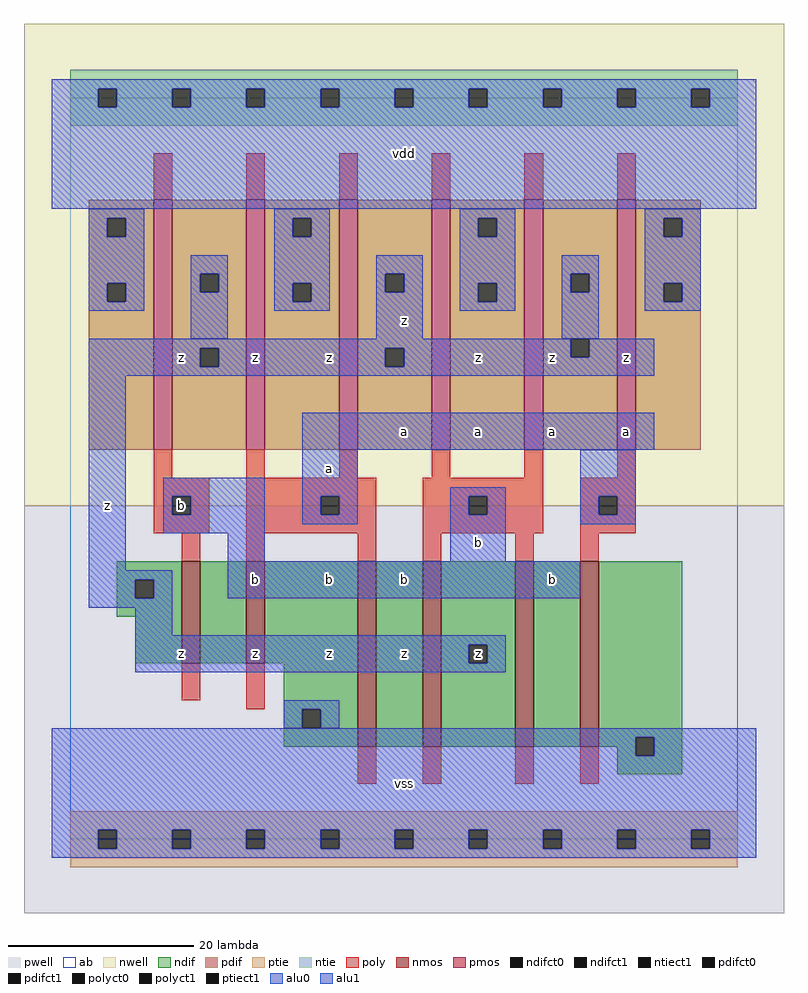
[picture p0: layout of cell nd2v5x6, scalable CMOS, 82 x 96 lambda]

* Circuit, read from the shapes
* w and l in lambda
.subckt nd2v5x6 a b vdd vss z
M1 n1 b z vss nfet w=11 l=2
M2 vss a n1 vss nfet w=11 l=2
M3 n2 a vss vss nfet w=20 l=2
M4 z b n2 vss nfet w=20 l=2
M5 n3 b z vss nfet w=20 l=2
M6 vss a n3 vss nfet w=20 l=2
M7 z b vdd vdd pfet w=27 l=2 m=3
M8 vdd a z vdd pfet w=27 l=2 m=3
.ends

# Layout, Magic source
magic
tech scmos
<< ab >>
rect 0 0 72 80
<< nwell >>
rect -5 36 77 88
<< pwell >>
rect -5 -8 77 36
<< poly >>
rect 9 69 11 74
rect 19 69 21 74
rect 29 69 31 74
rect 39 69 41 74
rect 49 69 51 74
rect 59 69 61 74
rect 9 39 11 42
rect 19 39 21 42
rect 29 39 31 42
rect 39 39 41 42
rect 49 39 51 42
rect 59 39 61 42
rect 9 37 15 39
rect 9 35 11 37
rect 13 35 15 37
rect 9 33 15 35
rect 19 37 33 39
rect 19 35 27 37
rect 29 35 33 37
rect 19 33 33 35
rect 12 30 14 33
rect 19 30 21 33
rect 31 30 33 33
rect 38 37 51 39
rect 38 35 43 37
rect 45 35 51 37
rect 38 33 51 35
rect 55 37 61 39
rect 55 35 57 37
rect 59 35 61 37
rect 55 33 61 35
rect 38 30 40 33
rect 48 30 50 33
rect 55 30 57 33
rect 12 15 14 19
rect 19 14 21 19
rect 31 6 33 10
rect 38 6 40 10
rect 48 6 50 10
rect 55 6 57 10
<< ndif >>
rect 5 28 12 30
rect 5 26 7 28
rect 9 26 12 28
rect 5 24 12 26
rect 7 19 12 24
rect 14 19 19 30
rect 21 19 31 30
rect 23 14 31 19
rect 23 12 25 14
rect 27 12 31 14
rect 23 10 31 12
rect 33 10 38 30
rect 40 21 48 30
rect 40 19 43 21
rect 45 19 48 21
rect 40 10 48 19
rect 50 10 55 30
rect 57 11 66 30
rect 57 10 61 11
rect 59 9 61 10
rect 63 9 66 11
rect 59 7 66 9
<< pdif >>
rect 2 67 9 69
rect 2 65 4 67
rect 6 65 9 67
rect 2 60 9 65
rect 2 58 4 60
rect 6 58 9 60
rect 2 42 9 58
rect 11 61 19 69
rect 11 59 14 61
rect 16 59 19 61
rect 11 53 19 59
rect 11 51 14 53
rect 16 51 19 53
rect 11 42 19 51
rect 21 67 29 69
rect 21 65 24 67
rect 26 65 29 67
rect 21 60 29 65
rect 21 58 24 60
rect 26 58 29 60
rect 21 42 29 58
rect 31 61 39 69
rect 31 59 34 61
rect 36 59 39 61
rect 31 53 39 59
rect 31 51 34 53
rect 36 51 39 53
rect 31 42 39 51
rect 41 67 49 69
rect 41 65 44 67
rect 46 65 49 67
rect 41 60 49 65
rect 41 58 44 60
rect 46 58 49 60
rect 41 42 49 58
rect 51 61 59 69
rect 51 59 54 61
rect 56 59 59 61
rect 51 54 59 59
rect 51 52 54 54
rect 56 52 59 54
rect 51 42 59 52
rect 61 67 68 69
rect 61 65 64 67
rect 66 65 68 67
rect 61 60 68 65
rect 61 58 64 60
rect 66 58 68 60
rect 61 42 68 58
<< alu1 >>
rect -2 81 74 82
rect -2 79 3 81
rect 5 79 11 81
rect 13 79 19 81
rect 21 79 27 81
rect 29 79 35 81
rect 37 79 43 81
rect 45 79 51 81
rect 53 79 59 81
rect 61 79 67 81
rect 69 79 74 81
rect -2 68 74 79
rect 33 61 38 63
rect 33 59 34 61
rect 36 59 38 61
rect 33 54 38 59
rect 2 53 54 54
rect 2 51 14 53
rect 16 51 34 53
rect 36 52 54 53
rect 56 52 63 54
rect 36 51 63 52
rect 2 50 63 51
rect 2 29 6 50
rect 25 42 63 46
rect 10 37 21 39
rect 10 35 11 37
rect 13 35 21 37
rect 10 33 21 35
rect 25 37 31 42
rect 25 35 27 37
rect 29 35 31 37
rect 25 34 31 35
rect 41 37 47 38
rect 41 35 43 37
rect 45 35 47 37
rect 17 30 21 33
rect 41 30 47 35
rect 2 28 11 29
rect 2 26 7 28
rect 9 26 11 28
rect 17 26 55 30
rect 2 25 11 26
rect 7 22 11 25
rect 7 21 47 22
rect 7 19 43 21
rect 45 19 47 21
rect 7 18 47 19
rect -2 11 74 12
rect -2 9 61 11
rect 63 9 74 11
rect -2 1 74 9
rect -2 -1 3 1
rect 5 -1 11 1
rect 13 -1 19 1
rect 21 -1 27 1
rect 29 -1 35 1
rect 37 -1 43 1
rect 45 -1 51 1
rect 53 -1 59 1
rect 61 -1 67 1
rect 69 -1 74 1
rect -2 -2 74 -1
<< ptie >>
rect 0 1 72 3
rect 0 -1 3 1
rect 5 -1 11 1
rect 13 -1 19 1
rect 21 -1 27 1
rect 29 -1 35 1
rect 37 -1 43 1
rect 45 -1 51 1
rect 53 -1 59 1
rect 61 -1 67 1
rect 69 -1 72 1
rect 0 -3 72 -1
<< ntie >>
rect 0 81 72 83
rect 0 79 3 81
rect 5 79 11 81
rect 13 79 19 81
rect 21 79 27 81
rect 29 79 35 81
rect 37 79 43 81
rect 45 79 51 81
rect 53 79 59 81
rect 61 79 67 81
rect 69 79 72 81
rect 0 77 72 79
<< nmos >>
rect 12 19 14 30
rect 19 19 21 30
rect 31 10 33 30
rect 38 10 40 30
rect 48 10 50 30
rect 55 10 57 30
<< pmos >>
rect 9 42 11 69
rect 19 42 21 69
rect 29 42 31 69
rect 39 42 41 69
rect 49 42 51 69
rect 59 42 61 69
<< polyct0 >>
rect 57 35 59 37
<< polyct1 >>
rect 11 35 13 37
rect 27 35 29 37
rect 43 35 45 37
<< ndifct0 >>
rect 25 12 27 14
<< ndifct1 >>
rect 7 26 9 28
rect 43 19 45 21
rect 61 9 63 11
<< ntiect1 >>
rect 3 79 5 81
rect 11 79 13 81
rect 19 79 21 81
rect 27 79 29 81
rect 35 79 37 81
rect 43 79 45 81
rect 51 79 53 81
rect 59 79 61 81
rect 67 79 69 81
<< ptiect1 >>
rect 3 -1 5 1
rect 11 -1 13 1
rect 19 -1 21 1
rect 27 -1 29 1
rect 35 -1 37 1
rect 43 -1 45 1
rect 51 -1 53 1
rect 59 -1 61 1
rect 67 -1 69 1
<< pdifct0 >>
rect 4 65 6 67
rect 4 58 6 60
rect 14 59 16 61
rect 24 65 26 67
rect 24 58 26 60
rect 44 65 46 67
rect 44 58 46 60
rect 54 59 56 61
rect 64 65 66 67
rect 64 58 66 60
<< pdifct1 >>
rect 14 51 16 53
rect 34 59 36 61
rect 34 51 36 53
rect 54 52 56 54
<< alu0 >>
rect 2 67 8 68
rect 2 65 4 67
rect 6 65 8 67
rect 2 60 8 65
rect 22 67 28 68
rect 22 65 24 67
rect 26 65 28 67
rect 2 58 4 60
rect 6 58 8 60
rect 2 57 8 58
rect 13 61 17 63
rect 13 59 14 61
rect 16 59 17 61
rect 13 54 17 59
rect 22 60 28 65
rect 42 67 48 68
rect 42 65 44 67
rect 46 65 48 67
rect 22 58 24 60
rect 26 58 28 60
rect 22 57 28 58
rect 42 60 48 65
rect 62 67 68 68
rect 62 65 64 67
rect 66 65 68 67
rect 42 58 44 60
rect 46 58 48 60
rect 42 57 48 58
rect 53 61 57 63
rect 53 59 54 61
rect 56 59 57 61
rect 53 54 57 59
rect 62 60 68 65
rect 62 58 64 60
rect 66 58 68 60
rect 62 57 68 58
rect 55 37 61 42
rect 55 35 57 37
rect 59 35 61 37
rect 55 34 61 35
rect 23 14 29 15
rect 23 12 25 14
rect 27 12 29 14
<< labels >>
rlabel alu1 4 36 4 36 6 z
rlabel alu1 12 20 12 20 6 z
rlabel alu1 20 20 20 20 6 z
rlabel alu1 20 28 20 28 6 b
rlabel polyct1 12 36 12 36 6 b
rlabel alu1 20 52 20 52 6 z
rlabel alu1 12 52 12 52 6 z
rlabel alu1 36 6 36 6 6 vss
rlabel alu1 28 20 28 20 6 z
rlabel alu1 28 28 28 28 6 b
rlabel alu1 36 20 36 20 6 z
rlabel alu1 36 28 36 28 6 b
rlabel alu1 28 40 28 40 6 a
rlabel alu1 36 44 36 44 6 a
rlabel alu1 28 52 28 52 6 z
rlabel alu1 36 56 36 56 6 z
rlabel alu1 36 74 36 74 6 vdd
rlabel ndifct1 44 20 44 20 6 z
rlabel alu1 52 28 52 28 6 b
rlabel alu1 44 32 44 32 6 b
rlabel alu1 44 44 44 44 6 a
rlabel alu1 52 44 52 44 6 a
rlabel alu1 52 52 52 52 6 z
rlabel alu1 44 52 44 52 6 z
rlabel alu1 60 44 60 44 6 a
rlabel alu1 60 52 60 52 6 z
<< end >>
